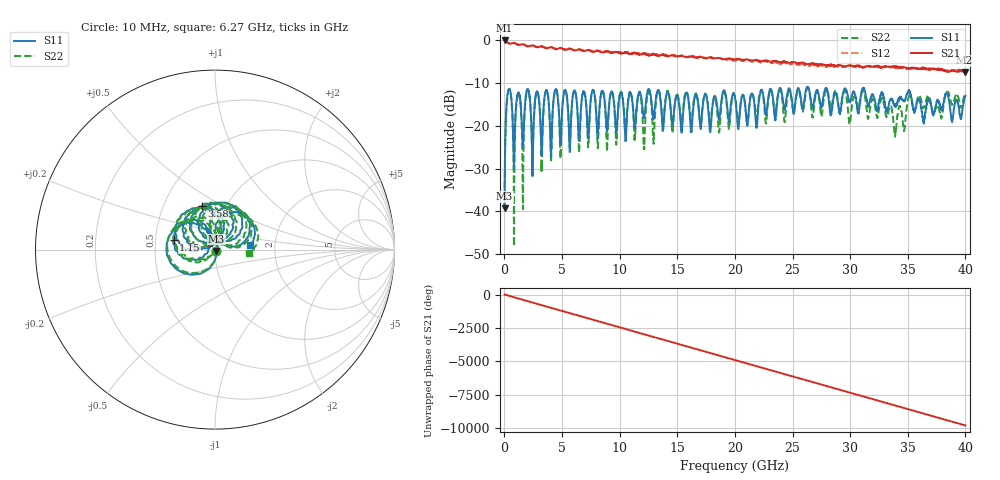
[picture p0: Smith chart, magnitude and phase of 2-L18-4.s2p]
! 2/21/2025 7:12:45 AM
! Z:\OQC\AD5\613\LOT-141-0825\SINGLE\2-L18-4.S2P
! CHANNEL.1
! TR.MEASUREMENT
! CORRECTED.DATA
! RF.CORRECTION: FULL.FOUR.PORT.CAL.PORT.1.2.3.4
! AVERAGING.OFF
! IF.BANDWIDTH: 1KHZ
! SWEEPTYPE:  FREQ.SWEEP(Linear)
! Reference Plane Port Info
! PORT:  PORT1  PORT2
! DISTANCE:  0  m  0  m
! TIME:  0  s  0  s
! PHASE.OFFSET:  0 °  0 °
! LOSS:  0  dB  0  dB
! REF.LOSS:  0  dB  0  dB
! REF.FREQ:  0  Hz  0  Hz
! Power Info
! POWER:  -10  dBm  -10  dBm
! EFF.POWER:  -10  dBm  -10  dBm
! SOURCE.ATTEN:  0  dB  0  dB
! TEST.ATTEN:  0  dB  0  dB
# GHZ S RI R 50.0
! FREQ.GHZ  S11RE  S11IM  S21RE  S21IM  S12RE  S12IM  S22RE  S22IM
!; PortSelection: Port_12
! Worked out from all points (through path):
!   4000 points, 10 MHz to 40 GHz, reference 50 ohm
!   highest |S21| = -0.07 dB at 10 MHz (marker M1); lowest = -7.5 dB at 39.93 GHz (marker M2)
!   group delay of S21, straight-line fit = 679 ps
!   lowest |S11| = -39.3 dB at 10 MHz (marker M3), VSWR 1.02, Z = 50.8 - j0.779 ohm
!   |S11| at or under -10 dB: start of sweep to end of sweep
!   |S22| runs from -48.1 to -11.2 dB; largest |S21 - S12| = 0.036
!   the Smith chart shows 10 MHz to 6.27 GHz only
!   S11 on the Smith chart (normalised r, x): 10 MHz: 1.02, -0.02; 1.15 GHz: 0.62, +0.07; 3.58 GHz: 0.77, +0.40; 6.27 GHz: 1.48, +0.07
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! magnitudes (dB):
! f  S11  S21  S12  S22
! 10 MHz  -39.3  -0.1  -0.1  -39.2
! 330 MHz  -11.7  -0.7  -0.7  -11.8
! 820 MHz  -30.1  -0.7  -0.7  -48.1
! 1.15 GHz  -12.5  -1.0  -1.0  -12.8
! 1.59 GHz  -24.4  -1.0  -1.0  -36.9
! 1.99 GHz  -11.5  -1.4  -1.4  -11.6
! 2.43 GHz  -31.8  -1.2  -1.2  -28.8
! 3.58 GHz  -12.0  -1.9  -1.8  -11.9
! 4.03 GHz  -27.3  -1.6  -1.6  -27.1
! 4.44 GHz  -11.5  -2.1  -2.0  -11.5
! 4.85 GHz  -24.3  -1.8  -1.8  -27.3
! 5.25 GHz  -11.7  -2.2  -2.1  -11.7
! 6.27 GHz  -14.2  -2.3  -2.2  -14.5
! 6.68 GHz  -14.4  -2.4  -2.3  -14.5
! 11.71 GHz  -12.0  -3.3  -3.2  -12.2
! 12.1 GHz  -18.0  -3.2  -3.0  -25.0
! 13.34 GHz  -11.7  -3.7  -3.5  -11.9
! 20.01 GHz  -13.6  -4.5  -4.8  -13.4
! 26.67 GHz  -15.3  -5.4  -5.7  -17.1
! 33.34 GHz  -15.1  -6.2  -6.2  -16.4
! 39.93 GHz  -13.3  -7.5  -7.1  -12.7
! 40 GHz  -13.0  -7.5  -7.1  -12.3
